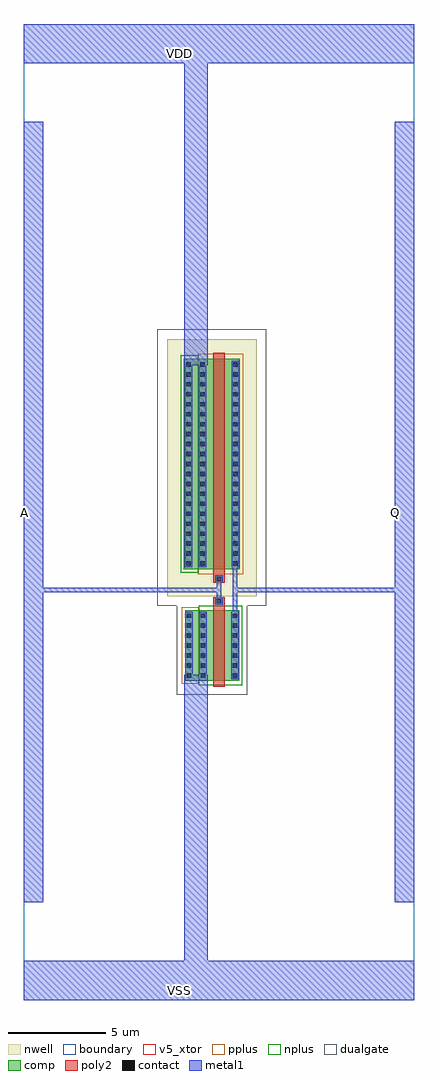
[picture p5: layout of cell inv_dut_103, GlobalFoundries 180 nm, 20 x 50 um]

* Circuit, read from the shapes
.subckt inv_dut_103 A Q VDD VSS
XM1 Q A VSS VSS nfet_05v0 w=3.6u l=0.6u
XM2 Q A VDD VDD pfet_05v0 w=10.8u l=0.6u
.ends

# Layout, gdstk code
from math import pi, radians
import gdstk
lib = gdstk.Library(unit=1e-6, precision=1e-09)
def R(c, l, rs):  # rectangles x0, y0, x1, y1
    for r in rs: c.add(gdstk.rectangle(r[:2], r[2:], *l))
def A(c, l, x, y, w, h, nx, ny, dx, dy):  # array of equal rectangles
    R(c, l, [(x+i*dx, y+j*dy, x+i*dx+w, y+j*dy+h) for i in range(nx) for j in range(ny)])
boundary = (0, 0)
nwell = (21, 0)
comp = (22, 0)
poly2 = (30, 0)
pplus = (31, 0)
nplus = (32, 0)
contact = (33, 0)
metal1 = (34, 0)
dualgate = (55, 0)
v5_xtor = (112, 1)

nfet_83 = lib.new_cell('nfet$83')
R(nfet_83, comp, [(-0.42,0,2.35,3.6)])
R(nfet_83, poly2, [(0.31,-0.3,0.91,4.26)])
R(nfet_83, pplus, [(1.64,-0.17,2.52,3.77)])
R(nfet_83, nplus, [(-0.59,-0.24,1.64,3.84)])
A(nfet_83, contact, -0.32, 0.16, 0.22, 0.22, 1, 7, 0, 0.51)
A(nfet_83, contact, 1.32, 0.16, 0.22, 0.22, 1, 7, 0, 0.51)
A(nfet_83, contact, 2.03, 0.16, 0.22, 0.22, 1, 7, 0, 0.51)
R(nfet_83, contact, [(0.5,3.97,0.72,4.19)])
R(nfet_83, metal1, [(-0.4,0.08,-0.02,3.52), (1.24,0.08,1.62,3.52), (1.95,0.08,2.33,3.52), (0.42,3.89,0.8,4.27)])
R(nfet_83, dualgate, [(-0.84,-0.71,2.77,4.68)])
R(nfet_83, v5_xtor, [(-0.84,-0.71,2.77,4.68)])

pfet_81 = lib.new_cell('pfet$81')
R(pfet_81, nwell, [(-1.32,-1.37,3.27,11.79)])
R(pfet_81, comp, [(-0.46,0,2.41,10.8)])
R(pfet_81, poly2, [(0.31,-0.68,0.91,11.1)])
R(pfet_81, pplus, [(-0.63,-0.24,1.68,11.04)])
R(pfet_81, nplus, [(1.68,-0.17,2.58,10.97)])
A(pfet_81, contact, -0.34, 0.19, 0.22, 0.22, 1, 21, 0, 0.51)
A(pfet_81, contact, 1.34, 0.19, 0.22, 0.22, 1, 21, 0, 0.51)
A(pfet_81, contact, 2.07, 0.19, 0.22, 0.22, 1, 21, 0, 0.51)
R(pfet_81, contact, [(0.5,-0.6,0.72,-0.38)])
R(pfet_81, metal1, [(0.42,-0.68,0.8,-0.3), (-0.42,0.11,-0.04,10.69), (1.26,0.11,1.64,10.69), (1.99,0.11,2.37,10.69)])
R(pfet_81, dualgate, [(-1.82,-1.87,3.77,12.29)])
R(pfet_81, v5_xtor, [(-1.82,-1.87,3.77,12.29)])

inv_dut_103 = lib.new_cell('inv_dut_103')
R(inv_dut_103, boundary, [(-10,-25,10,25)])
R(inv_dut_103, metal1, [(-10,-25,10,-23), (-10,-20,-9,20), (9,-20,10,20), (-10,23,10,25)])
inv_dut_103.add(gdstk.FlexPath([(0,-3.43),(0,-4.56)], 0.23, ends="flush", simple_path=True, layer=34, datatype=0))  # metal1
inv_dut_103.add(gdstk.FlexPath([(-9.5,-3.995),(0,-3.995)], 0.23, ends="flush", simple_path=True, layer=34, datatype=0))  # metal1
inv_dut_103.add(gdstk.FlexPath([(0.83,-2.64),(0.83,-5.31)], 0.23, ends="flush", simple_path=True, layer=34, datatype=0))  # metal1
inv_dut_103.add(gdstk.FlexPath([(0.83,-3.995),(9.5,-3.995)], 0.23, ends="flush", simple_path=True, layer=34, datatype=0))  # metal1
inv_dut_103.add(gdstk.FlexPath([(-1.18,7.52),(-1.18,24)], 1.2, ends="flush", simple_path=True, layer=34, datatype=0))  # metal1
inv_dut_103.add(gdstk.FlexPath([(-1.18,-8.33),(-1.18,-24)], 1.2, ends="flush", simple_path=True, layer=34, datatype=0))  # metal1
inv_dut_103.add(gdstk.Reference(nfet_83, (0.61,-8.64), rotation=pi, x_reflection=True))
inv_dut_103.add(gdstk.Reference(pfet_81, (0.61,-2.94), rotation=pi, x_reflection=True))
inv_dut_103.add(gdstk.Label('VDD', (-2,23.5), layer=34, texttype=10))
inv_dut_103.add(gdstk.Label('VSS', (-2,-24.5), layer=34, texttype=10))
inv_dut_103.add(gdstk.Label('A', (-9.97,0), layer=34, texttype=10))
inv_dut_103.add(gdstk.Label('Q', (9.03,0), layer=34, texttype=10))

lib.write_gds('inv_dut_103.gds')
